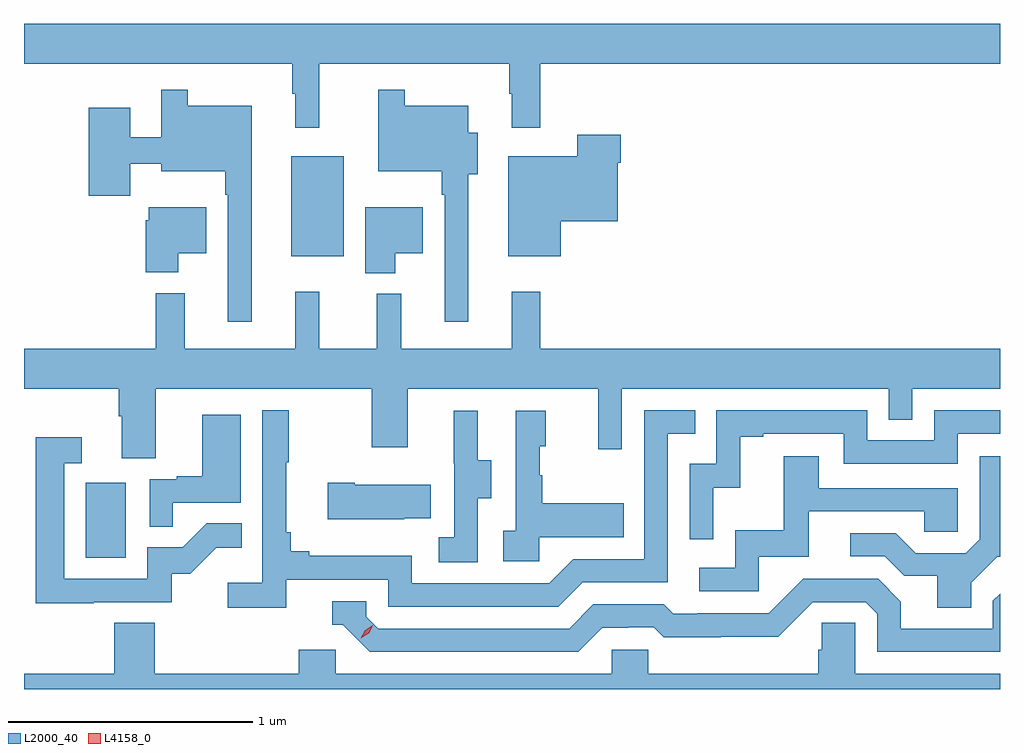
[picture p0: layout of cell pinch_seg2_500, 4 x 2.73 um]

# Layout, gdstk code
import gdstk
lib = gdstk.Library(unit=1e-6, precision=1e-09)
def R(c, l, rs):  # rectangles x0, y0, x1, y1
    for r in rs: c.add(gdstk.rectangle(r[:2], r[2:], *l))
def P(c, l, *ps):  # polygons
    for p in ps: c.add(gdstk.Polygon(p, *l))
L2000_40 = (2000, 40)
L4158_0 = (4158, 0)

pinch_seg2_500 = lib.new_cell('pinch_seg2_500')
R(pinch_seg2_500, L2000_40, [(1009.142,584.34,1009.306,584.647), (1009.985,585.575,1010.2,585.985)])
P(pinch_seg2_500, L2000_40, [(1010.1,586.364),(1010.877,586.364),(1010.877,586.241),(1010.888,586.241),(1010.888,586.101),(1011.005,586.101),(1011.005,586.364),(1012.889,586.364),(1012.889,586.528),(1008.889,586.528),(1008.889,586.364),(1009.989,586.364),(1009.989,586.241),(1010,586.241),(1010,586.101),(1010.1,586.101)],
  [(1009.822,586.192),(1009.561,586.192),(1009.561,586.258),(1009.452,586.258),(1009.452,586.063),(1009.324,586.063),(1009.324,586.183),(1009.154,586.183),(1009.154,585.822),(1009.324,585.822),(1009.324,585.953),(1009.451,585.953),(1009.451,585.923),(1009.713,585.923),(1009.713,585.827),(1009.725,585.827),(1009.725,585.306),(1009.822,585.306)],
  [(1010.71,585.911),(1010.749,585.911),(1010.749,586.081),(1010.71,586.081),(1010.71,586.192),(1010.449,586.192),(1010.449,586.258),(1010.34,586.258),(1010.34,585.923),(1010.601,585.923),(1010.601,585.827),(1010.613,585.827),(1010.613,585.306),(1010.71,585.306)],
  [(1011.088,585.719),(1011.322,585.719),(1011.322,585.959),(1011.335,585.959),(1011.335,586.072),(1011.157,586.072),(1011.157,585.985),(1010.873,585.985),(1010.873,585.575),(1011.088,585.575)],
  [(1009.522,585.587),(1009.636,585.587),(1009.636,585.775),(1009.4,585.775),(1009.4,585.723),(1009.388,585.723),(1009.388,585.509),(1009.522,585.509)],
  [(1010.41,585.587),(1010.524,585.587),(1010.524,585.775),(1010.288,585.775),(1010.288,585.506),(1010.41,585.506)],
  [(1008.889,585.032),(1009.277,585.032),(1009.277,584.92),(1009.289,584.92),(1009.289,584.746),(1009.429,584.746),(1009.429,585.032),(1010.314,585.032),(1010.314,584.793),(1010.461,584.793),(1010.461,585.032),(1011.242,585.032),(1011.242,584.784),(1011.339,584.784),(1011.339,585.032),(1012.434,585.032),(1012.434,584.905),(1012.53,584.905),(1012.53,585.032),(1012.889,585.032),(1012.889,585.196),(1011.005,585.196),(1011.005,585.43),(1010.888,585.43),(1010.888,585.196),(1010.435,585.196),(1010.435,585.421),(1010.335,585.421),(1010.335,585.196),(1010.1,585.196),(1010.1,585.43),(1010,585.43),(1010,585.196),(1009.547,585.196),(1009.547,585.424),(1009.429,585.424),(1009.429,585.196),(1008.889,585.196)],
  [(1009.964,584.25),(1010.382,584.25),(1010.382,584.139),(1011.079,584.139),(1011.178,584.238),(1011.528,584.238),(1011.528,584.847),(1011.641,584.847),(1011.641,584.943),(1011.432,584.943),(1011.432,584.334),(1011.141,584.334),(1011.042,584.235),(1010.478,584.235),(1010.478,584.347),(1010.059,584.347),(1010.059,584.366),(1009.982,584.366),(1009.982,584.443),(1009.963,584.443),(1009.963,584.731),(1009.975,584.731),(1009.975,584.944),(1009.866,584.944),(1009.866,584.236),(1009.725,584.236),(1009.725,584.134),(1009.964,584.134)],
  [(1011.714,584.627),(1011.824,584.627),(1011.824,584.835),(1011.919,584.835),(1011.919,584.847),(1012.248,584.847),(1012.248,584.724),(1012.716,584.724),(1012.716,584.847),(1012.889,584.847),(1012.889,584.943),(1012.62,584.943),(1012.62,584.82),(1012.344,584.82),(1012.344,584.943),(1011.726,584.943),(1011.726,584.724),(1011.618,584.724),(1011.618,584.415),(1011.714,584.415)],
  [(1010.748,584.584),(1010.803,584.584),(1010.803,584.739),(1010.749,584.739),(1010.749,584.941),(1010.651,584.941),(1010.651,584.727),(1010.652,584.727),(1010.652,584.423),(1010.589,584.423),(1010.589,584.32),(1010.748,584.32)],
  [(1011,584.423),(1011.347,584.423),(1011.347,584.563),(1011.013,584.563),(1011.013,584.678),(1011.003,584.678),(1011.003,584.796),(1011.028,584.796),(1011.028,584.941),(1010.904,584.941),(1010.904,584.45),(1010.853,584.45),(1010.853,584.325),(1011,584.325)],
  [(1009.499,584.565),(1009.777,584.565),(1009.777,584.926),(1009.619,584.926),(1009.619,584.674),(1009.515,584.674),(1009.515,584.661),(1009.404,584.661),(1009.404,584.467),(1009.499,584.467)],
  [(1009.175,584.157),(1009.494,584.157),(1009.494,584.274),(1009.57,584.274),(1009.677,584.381),(1009.781,584.381),(1009.781,584.48),(1009.637,584.48),(1009.539,584.382),(1009.395,584.382),(1009.395,584.253),(1009.053,584.253),(1009.053,584.727),(1009.126,584.727),(1009.126,584.833),(1008.937,584.833),(1008.937,584.152),(1009.175,584.152)],
  [(1011.9,584.343),(1012.105,584.343),(1012.105,584.529),(1012.579,584.529),(1012.579,584.445),(1012.716,584.445),(1012.716,584.625),(1012.147,584.625),(1012.147,584.755),(1012.003,584.755),(1012.003,584.452),(1011.804,584.452),(1011.804,584.298),(1011.657,584.298),(1011.657,584.202),(1011.9,584.202)],
  [(1012.771,584.236),(1012.878,584.343),(1012.889,584.343),(1012.889,584.755),(1012.806,584.755),(1012.806,584.415),(1012.749,584.358),(1012.543,584.358),(1012.462,584.439),(1012.275,584.439),(1012.275,584.346),(1012.416,584.346),(1012.496,584.266),(1012.631,584.266),(1012.631,584.134),(1012.771,584.134)],
  [(1010.447,584.501),(1010.555,584.501),(1010.555,584.638),(1010.245,584.638),(1010.245,584.646),(1010.133,584.646),(1010.133,584.498),(1010.447,584.498)],
  [(1011.259,584.052),(1011.366,584.052),(1011.366,584.055),(1011.469,584.055),(1011.511,584.013),(1011.744,584.013),(1011.744,584.015),(1011.98,584.015),(1012.122,584.157),(1012.338,584.157),(1012.386,584.109),(1012.386,583.953),(1012.889,583.953),(1012.889,584.192),(1012.86,584.163),(1012.86,584.049),(1012.483,584.049),(1012.483,584.159),(1012.389,584.253),(1012.083,584.253),(1011.942,584.112),(1011.649,584.112),(1011.649,584.109),(1011.55,584.109),(1011.511,584.148),(1011.222,584.148),(1011.123,584.049),(1010.34,584.049),(1010.292,584.097),(1010.292,584.16),(1010.153,584.16),(1010.153,584.064),(1010.196,584.064),(1010.307,583.953),(1011.16,583.953)],
  [(1012.889,583.864),(1012.296,583.864),(1012.296,584.072),(1012.159,584.072),(1012.159,583.962),(1012.145,583.962),(1012.145,583.864),(1011.447,583.864),(1011.447,583.962),(1011.297,583.962),(1011.297,583.864),(1010.166,583.864),(1010.166,583.962),(1010.015,583.962),(1010.015,583.864),(1009.424,583.864),(1009.424,584.072),(1009.259,584.072),(1009.259,583.864),(1008.889,583.864),(1008.889,583.8),(1012.889,583.8)])
P(pinch_seg2_500, L4158_0, [(1010.27,584.009),(1010.27,584.01),(1010.287,584.042),(1010.318,584.062),(1010.318,584.062),(1010.318,584.061),(1010.301,584.029),(1010.27,584.009)])

lib.write_gds('pinch_seg2_500.gds')
